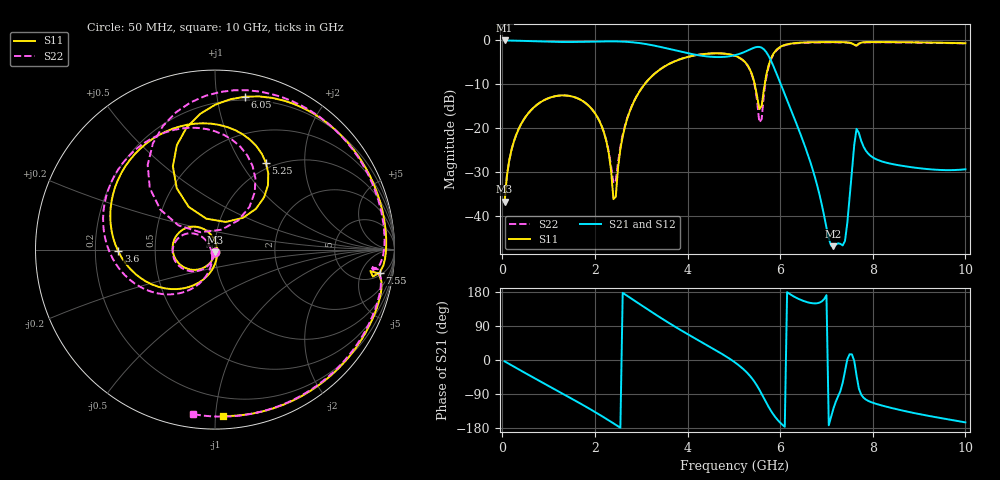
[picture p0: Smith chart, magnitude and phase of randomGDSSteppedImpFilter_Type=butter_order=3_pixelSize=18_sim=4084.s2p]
! freq	dB(S11)	phase(S11)	dB(S12)	phase(S12)
!  dB(S21)	phase(S21)	dB(S22)	phase(S22)
!S-par simulation data
#  GHz  S  DB  R 50
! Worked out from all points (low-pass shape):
!   200 points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, 50 MHz to 10 GHz, reference 50 ohm
!   highest |S21| = -0.01 dB at 50 MHz (marker M1); lowest = -46.8 dB at 7.15 GHz (marker M2)
!   |S21| within 3 dB of the highest: start of sweep to 4.048 GHz; 5.137 GHz to 5.72 GHz (582.9 MHz wide, 10.7 % of centre)
!   lowest |S11| = -36.7 dB at 50 MHz (marker M3), VSWR 1.03, Z = 49.9 - j1.45 ohm
!   |S11| at or under -10 dB: start of sweep to 3.073 GHz; 5.453 GHz to 5.667 GHz (214.2 MHz wide, 3.85 % of centre)
!   |S22| runs from -36.7 to -0.4 dB; largest |S21 - S12| = 0
!   S11 on the Smith chart (normalised r, x): 50 MHz: 1.00, -0.03; 3.6 GHz: 0.30, -0.01; 5.25 GHz: 0.92, +1.30; 6.05 GHz: 0.17, +1.20; 7.55 GHz: 6, -11; 10 GHz: 0.08, -1.04
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0.05  -36.73 -92.7  -0.01 -3.6  -0.01 -3.6  -36.74 -92.4
0.2  -24.88 -104.6  -0.04 -14.0  -0.04 -14.0  -24.88 -103.4
0.55  -16.74 -130.2  -0.14 -38.1  -0.14 -38.1  -16.74 -126.8
1.75  -13.90 143.8  -0.33 -119.3  -0.33 -119.3  -13.89 157.5
2.2  -21.14 105.6  -0.22 -151.8  -0.22 -151.8  -21.05 134.7
2.4  -36.14 46.7  -0.21 -167.1  -0.21 -167.1  -32.53 174.0
2.75  -16.24 -106.7  -0.37 165.1  -0.37 165.1  -16.11 -108.7
3.4  -6.66 -163.1  -1.45 112.9  -1.45 112.9  -6.63 -153.5
3.6  -5.37 -179.0  -1.93 97.6  -1.93 97.6  -5.35 -167.9
4.3  -3.17 130.2  -3.48 47.4  -3.48 47.4  -3.17 144.1
5.05  -3.59 76.6  -3.30 -8.7  -3.30 -8.7  -3.62 89.9
5.25  -5.03 59.5  -2.54 -29.2  -2.54 -29.2  -5.10 71.2
5.55  -15.64 68.9  -1.48 -78.1  -1.48 -78.1  -18.66 71.7
5.8  -4.16 110.1  -4.56 -133.8  -4.56 -133.8  -4.40 128.5
6.05  -1.23 78.9  -10.93 -171.1  -10.93 -171.1  -1.33 93.6
6.7  -0.41 33.0  -29.32 149.7  -29.32 149.7  -0.48 42.3
7.15  -0.38 10.8  -46.85 -128.3  -46.85 -128.3  -0.44 16.5
7.4  -0.42 -0.7  -45.66 -29.1  -45.66 -29.1  -0.48 3.1
7.55  -0.66 -7.9  -29.78 14.7  -29.78 14.7  -0.70 -5.2
7.65  -1.17 -7.9  -20.13 -41.5  -20.13 -41.5  -1.19 -6.1
8.35  -0.38 -34.8  -27.99 -125.0  -27.99 -125.0  -0.44 -37.9
10  -0.65 -87.4  -29.34 -164.6  -29.34 -164.6  -0.68 -97.6
